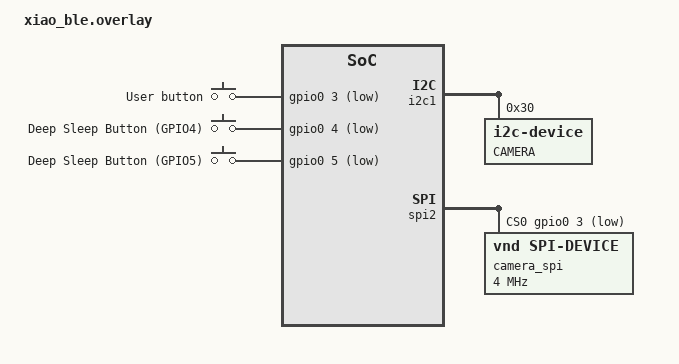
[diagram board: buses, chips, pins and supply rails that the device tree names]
/ {
    aliases {
        sw0 = &button0;
        // Add an alias for the new button if needed
        sw1 = &button1;
    };
    buttons {
        compatible = "gpio-keys";
        button0: button_0 {
            gpios = <&gpio0 3 (GPIO_PULL_UP | GPIO_ACTIVE_LOW)>;
            label = "User button";
        };

        // Added the button for deep sleep mode.
        button1: button_1 {
            gpios = <&gpio0 4 (GPIO_PULL_UP | GPIO_ACTIVE_LOW)>;
            label = "Deep Sleep Button (GPIO4)";
        };
        
        button2: button_2 {
            gpios = <&gpio0 5 (GPIO_PULL_UP | GPIO_ACTIVE_LOW)>;
            label = "Deep Sleep Button (GPIO5)";
        };
    };
};

&i2c1 {
    camera: camera@30 {
        compatible = "i2c-device";
        reg = <0x30>;
        label = "CAMERA";
    };
};

&spi2 {
    cs-gpios = <&gpio0 3 GPIO_ACTIVE_LOW>, <&gpio0 28 GPIO_ACTIVE_LOW>;

    camera_spi: camera_spi_device@0 {
        status = "okay";
        compatible = "vnd,spi-device"; // https: //devzone.nordicsemi.com/f/nordic-q-a/108613/yet-another-zephyr-devicetree-problem-this-time-with-spi-spi-max-frequency-amongst-others
        reg = <0>;
        spi-max-frequency = <4000000>;
    };
};
